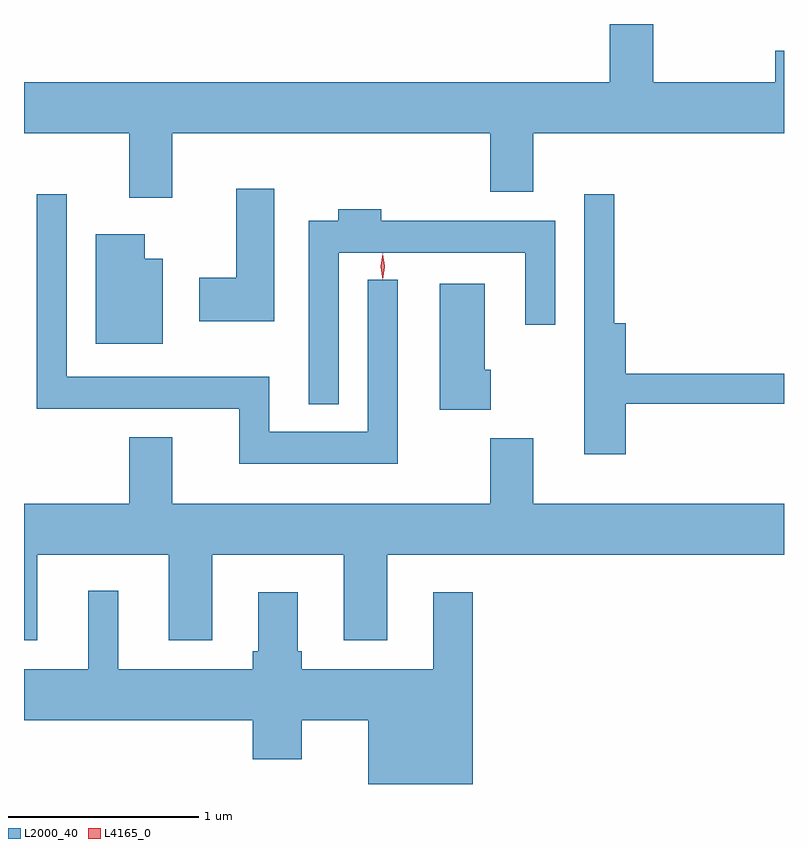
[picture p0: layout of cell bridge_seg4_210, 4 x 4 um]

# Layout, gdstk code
import gdstk
lib = gdstk.Library(unit=1e-6, precision=1e-09)
def P(c, l, *ps):  # polygons
    for p in ps: c.add(gdstk.Polygon(p, *l))
L2000_40 = (2000, 40)
L4165_0 = (4165, 0)

bridge_seg4_210 = lib.new_cell('bridge_seg4_210')
P(bridge_seg4_210, L2000_40, [(1077.018,1259.216),(1077.571,1259.216),(1077.571,1258.876),(1077.799,1258.876),(1077.799,1259.216),(1079.471,1259.216),(1079.471,1258.906),(1079.699,1258.906),(1079.699,1259.216),(1081.018,1259.216),(1081.018,1259.649),(1080.971,1259.649),(1080.971,1259.484),(1080.329,1259.484),(1080.329,1259.79),(1080.101,1259.79),(1080.101,1259.484),(1077.018,1259.484)],
  [(1078.334,1258.924),(1078.136,1258.924),(1078.136,1258.454),(1077.941,1258.454),(1077.941,1258.226),(1078.334,1258.226)],
  [(1078.984,1258.443),(1078.826,1258.443),(1078.826,1257.644),(1078.309,1257.644),(1078.309,1257.934),(1077.244,1257.934),(1077.244,1258.893),(1077.086,1258.893),(1077.086,1257.766),(1078.151,1257.766),(1078.151,1257.476),(1078.984,1257.476)],
  [(1080.184,1257.791),(1081.018,1257.791),(1081.018,1257.949),(1080.184,1257.949),(1080.184,1258.214),(1080.124,1258.214),(1080.124,1258.893),(1079.966,1258.893),(1079.966,1257.526),(1080.184,1257.526)],
  [(1078.674,1258.586),(1079.656,1258.586),(1079.656,1258.208),(1079.814,1258.208),(1079.814,1258.754),(1078.899,1258.754),(1078.899,1258.814),(1078.671,1258.814),(1078.671,1258.754),(1078.516,1258.754),(1078.516,1257.788),(1078.674,1257.788)],
  [(1077.749,1258.554),(1077.654,1258.554),(1077.654,1258.684),(1077.396,1258.684),(1077.396,1258.106),(1077.749,1258.106)],
  [(1079.474,1257.969),(1079.444,1257.969),(1079.444,1258.424),(1079.206,1258.424),(1079.206,1257.761),(1079.474,1257.761)],
  [(1077.089,1256.996),(1077.781,1256.996),(1077.781,1256.546),(1078.009,1256.546),(1078.009,1256.996),(1078.701,1256.996),(1078.701,1256.546),(1078.929,1256.546),(1078.929,1256.996),(1081.018,1256.996),(1081.018,1257.264),(1079.699,1257.264),(1079.699,1257.609),(1079.471,1257.609),(1079.471,1257.264),(1077.799,1257.264),(1077.799,1257.614),(1077.571,1257.614),(1077.571,1257.264),(1077.018,1257.264),(1077.018,1256.546),(1077.089,1256.546)],
  [(1079.379,1256.799),(1079.171,1256.799),(1079.171,1256.394),(1078.479,1256.394),(1078.479,1256.489),(1078.459,1256.489),(1078.459,1256.799),(1078.251,1256.799),(1078.251,1256.489),(1078.221,1256.489),(1078.221,1256.394),(1077.514,1256.394),(1077.514,1256.808),(1077.356,1256.808),(1077.356,1256.394),(1077.018,1256.394),(1077.018,1256.126),(1078.221,1256.126),(1078.221,1255.921),(1078.479,1255.921),(1078.479,1256.126),(1078.831,1256.126),(1078.831,1255.79),(1079.379,1255.79)])
P(bridge_seg4_210, L4165_0, [(1078.906,1258.447),(1078.906,1258.447),(1078.896,1258.514),(1078.906,1258.58),(1078.906,1258.581),(1078.907,1258.58),(1078.916,1258.514),(1078.907,1258.447)],
  [(1078.906,1258.444),(1078.906,1258.444),(1078.896,1258.513),(1078.906,1258.582),(1078.906,1258.583),(1078.907,1258.582),(1078.916,1258.513),(1078.907,1258.444)])

lib.write_gds('bridge_seg4_210.gds')
